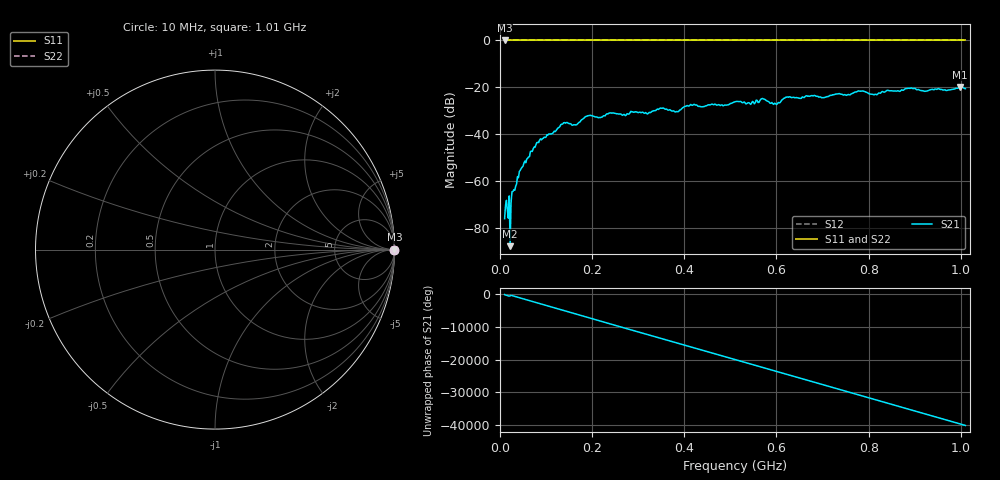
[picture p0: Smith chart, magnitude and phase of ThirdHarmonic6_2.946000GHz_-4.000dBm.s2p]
! 8/17/2025 8:16:09 AM
! C:\ANRITSUVNA\TEMP\TEMP.S2P
! CHANNEL.1
! TR.MEASUREMENT
! RAW.DATA
! RF.CORRECTION.OFF
! AVERAGING.OFF
! IF.BANDWIDTH: 5KHZ
! SWEEPTYPE:  FREQ.SWEEP(Linear)
! Reference Plane Port Info
! PORT:  PORT1  PORT2
! DISTANCE:  0  m  0  m
! TIME:  0  s  0  s
! PHASE.OFFSET:  0  deg.  0  deg.
! LOSS:  0  dB  0  dB
! REF.LOSS:  0  dB  0  dB
! REF.FREQ:  0  Hz  0  Hz
! Power Info
! POWER:  -20  dBm  -20  dBm
! EFF.POWER:  -20  dBm  -20  dBm
! SOURCE.ATTEN:  0  dB  0  dB
! TEST.ATTEN:  0  dB  0  dB
# GHZ S RI R 50.0
! FREQ.GHZ  S11RE  S11IM  S21RE  S21IM  S12RE  S12IM  S22RE  S22IM
!; PortSelection: Port_12
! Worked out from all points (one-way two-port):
!   501 points, 10 MHz to 1.01 GHz, reference 50 ohm
!   highest |S21| = -19.89 dB at 998 MHz (marker M1); lowest = -87.8 dB at 22 MHz (marker M2)
!   lowest |S11| = 0.0 dB at 10 MHz (marker M3)
!   |S11| at or under -10 dB: nowhere
!   |S22| runs from 0.0 to 0.0 dB; largest |S21 - S12| = 1.1
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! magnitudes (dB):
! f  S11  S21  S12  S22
! 10 MHz  0.0  -76.1  0.0  0.0
! 16 MHz  0.0  -72.3  0.0  0.0
! 18 MHz  0.0  -75.8  0.0  0.0
! 22 MHz  0.0  -87.8  0.0  0.0
! 28 MHz  0.0  -64.5  0.0  0.0
! 42 MHz  0.0  -56.0  0.0  0.0
! 84 MHz  0.0  -43.6  0.0  0.0
! 136 MHz  0.0  -35.7  0.0  0.0
! 162 MHz  0.0  -36.0  0.0  0.0
! 178 MHz  0.0  -33.8  0.0  0.0
! 194 MHz  0.0  -32.1  0.0  0.0
! 344 MHz  0.0  -29.4  0.0  0.0
! 384 MHz  0.0  -30.3  0.0  0.0
! 418 MHz  0.0  -27.7  0.0  0.0
! 510 MHz  0.0  -26.2  0.0  0.0
! 570 MHz  0.0  -24.8  0.0  0.0
! 598 MHz  0.0  -27.0  0.0  0.0
! 624 MHz  0.0  -24.1  0.0  0.0
! 678 MHz  0.0  -23.6  0.0  0.0
! 844 MHz  0.0  -21.4  0.0  0.0
! 998 MHz  0.0  -19.9  0.0  0.0
! 1.01 GHz  0.0  -20.6  0.0  0.0
